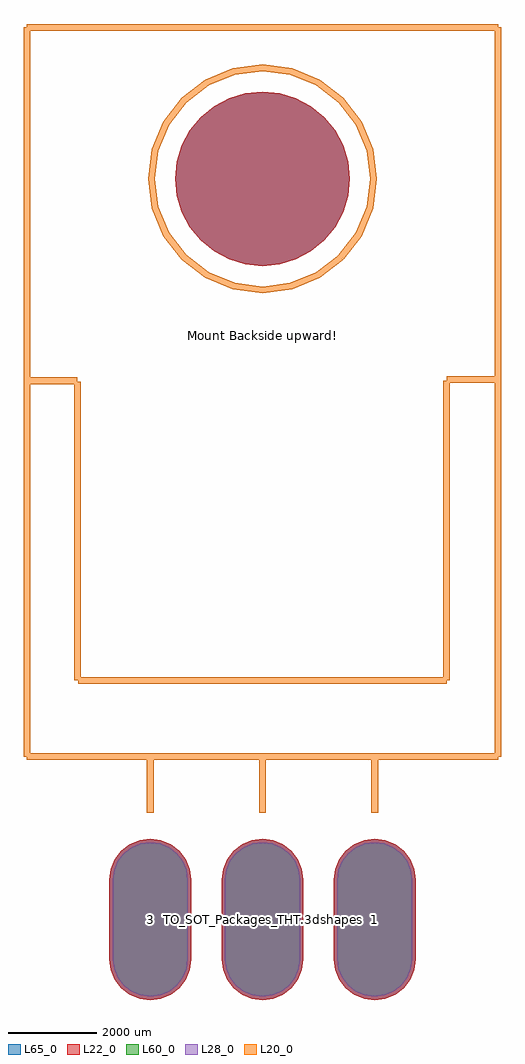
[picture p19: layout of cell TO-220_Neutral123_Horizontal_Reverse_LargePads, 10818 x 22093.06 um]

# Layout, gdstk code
import gdstk
lib = gdstk.Library(unit=1e-6, precision=1e-09)
def P(c, l, *ps):  # polygons
    for p in ps: c.add(gdstk.Polygon(p, *l))
L20_0 = (20, 0)
L22_0 = (22, 0)
L28_0 = (28, 0)
L60_0 = (60, 0)
L65_0 = (65, 0)

to_220_neutral123_horizo = lib.new_cell('TO-220_Neutral123_Horizontal_Reverse_LargePads')
P(to_220_neutral123_horizo, L22_0, [(1974.92,16764),(1936.972,17149.288),(1824.588,17519.769),(1642.086,17861.207),(1396.479,18160.479),(1097.207,18406.086),(755.769,18588.588),(385.288,18700.972),(0,18738.92),(-385.288,18700.972),(-755.769,18588.588),(-1097.207,18406.086),(-1396.479,18160.479),(-1642.086,17861.207),(-1824.588,17519.769),(-1936.972,17149.288),(-1974.92,16764),(-1936.972,16378.712),(-1824.588,16008.231),(-1642.086,15666.793),(-1396.479,15367.521),(-1097.207,15121.914),(-755.769,14939.412),(-385.288,14827.028),(0,14789.08),(385.288,14827.028),(755.769,14939.412),(1097.207,15121.914),(1396.479,15367.521),(1642.086,15666.793),(1824.588,16008.231),(1936.972,16378.712)],
  [(2540,-1825.06),(2779.312,-1793.554),(3002.315,-1701.183),(3193.812,-1554.242),(3340.753,-1362.745),(3433.124,-1139.742),(3464.63,-900.43),(3464.63,900.43),(3433.124,1139.742),(3340.753,1362.745),(3193.812,1554.242),(3002.315,1701.183),(2779.312,1793.554),(2540,1825.06),(2300.688,1793.554),(2077.685,1701.183),(1886.188,1554.242),(1739.247,1362.745),(1646.876,1139.742),(1615.37,900.43),(1615.37,-900.43),(1646.876,-1139.742),(1739.247,-1362.745),(1886.188,-1554.242),(2077.685,-1701.183),(2300.688,-1793.554)],
  [(-2540,-1825.06),(-2300.688,-1793.554),(-2077.685,-1701.183),(-1886.188,-1554.242),(-1739.247,-1362.745),(-1646.876,-1139.742),(-1615.37,-900.43),(-1615.37,900.43),(-1646.876,1139.742),(-1739.247,1362.745),(-1886.188,1554.242),(-2077.685,1701.183),(-2300.688,1793.554),(-2540,1825.06),(-2779.312,1793.554),(-3002.315,1701.183),(-3193.812,1554.242),(-3340.753,1362.745),(-3433.124,1139.742),(-3464.63,900.43),(-3464.63,-900.43),(-3433.124,-1139.742),(-3340.753,-1362.745),(-3193.812,-1554.242),(-3002.315,-1701.183),(-2779.312,-1793.554)],
  [(0,-1825.06),(239.312,-1793.554),(462.315,-1701.183),(653.812,-1554.242),(800.753,-1362.745),(893.124,-1139.742),(924.63,-900.43),(924.63,900.43),(893.124,1139.742),(800.753,1362.745),(653.812,1554.242),(462.315,1701.183),(239.312,1793.554),(0,1825.06),(-239.312,1793.554),(-462.315,1701.183),(-653.812,1554.242),(-800.753,1362.745),(-893.124,1139.742),(-924.63,900.43),(-924.63,-900.43),(-893.124,-1139.742),(-800.753,-1362.745),(-653.812,-1554.242),(-462.315,-1701.183),(-239.312,-1793.554)])
P(to_220_neutral123_horizo, L28_0, [(2540,-1750.06),(2759.9,-1721.11),(2964.815,-1636.231),(3140.779,-1501.209),(3275.801,-1325.245),(3360.68,-1120.33),(3389.63,-900.43),(3389.63,900.43),(3360.68,1120.33),(3275.801,1325.245),(3140.779,1501.209),(2964.815,1636.231),(2759.9,1721.11),(2540,1750.06),(2320.1,1721.11),(2115.185,1636.231),(1939.221,1501.209),(1804.199,1325.245),(1719.32,1120.33),(1690.37,900.43),(1690.37,-900.43),(1719.32,-1120.33),(1804.199,-1325.245),(1939.221,-1501.209),(2115.185,-1636.231),(2320.1,-1721.11)],
  [(-2540,-1750.06),(-2320.1,-1721.11),(-2115.185,-1636.231),(-1939.221,-1501.209),(-1804.199,-1325.245),(-1719.32,-1120.33),(-1690.37,-900.43),(-1690.37,900.43),(-1719.32,1120.33),(-1804.199,1325.245),(-1939.221,1501.209),(-2115.185,1636.231),(-2320.1,1721.11),(-2540,1750.06),(-2759.9,1721.11),(-2964.815,1636.231),(-3140.779,1501.209),(-3275.801,1325.245),(-3360.68,1120.33),(-3389.63,900.43),(-3389.63,-900.43),(-3360.68,-1120.33),(-3275.801,-1325.245),(-3140.779,-1501.209),(-2964.815,-1636.231),(-2759.9,-1721.11)],
  [(0,-1750.06),(219.9,-1721.11),(424.815,-1636.231),(600.779,-1501.209),(735.801,-1325.245),(820.68,-1120.33),(849.63,-900.43),(849.63,900.43),(820.68,1120.33),(735.801,1325.245),(600.779,1501.209),(424.815,1636.231),(219.9,1721.11),(0,1750.06),(-219.9,1721.11),(-424.815,1636.231),(-600.779,1501.209),(-735.801,1325.245),(-820.68,1120.33),(-849.63,900.43),(-849.63,-900.43),(-820.68,-1120.33),(-735.801,-1325.245),(-600.779,-1501.209),(-424.815,-1636.231),(-219.9,-1721.11)])
P(to_220_neutral123_horizo, L60_0, [(2540,-1750.06),(2759.9,-1721.11),(2964.815,-1636.231),(3140.779,-1501.209),(3275.801,-1325.245),(3360.68,-1120.33),(3389.63,-900.43),(3389.63,900.43),(3360.68,1120.33),(3275.801,1325.245),(3140.779,1501.209),(2964.815,1636.231),(2759.9,1721.11),(2540,1750.06),(2320.1,1721.11),(2115.185,1636.231),(1939.221,1501.209),(1804.199,1325.245),(1719.32,1120.33),(1690.37,900.43),(1690.37,-900.43),(1719.32,-1120.33),(1804.199,-1325.245),(1939.221,-1501.209),(2115.185,-1636.231),(2320.1,-1721.11)],
  [(-2540,-1750.06),(-2320.1,-1721.11),(-2115.185,-1636.231),(-1939.221,-1501.209),(-1804.199,-1325.245),(-1719.32,-1120.33),(-1690.37,-900.43),(-1690.37,900.43),(-1719.32,1120.33),(-1804.199,1325.245),(-1939.221,1501.209),(-2115.185,1636.231),(-2320.1,1721.11),(-2540,1750.06),(-2759.9,1721.11),(-2964.815,1636.231),(-3140.779,1501.209),(-3275.801,1325.245),(-3360.68,1120.33),(-3389.63,900.43),(-3389.63,-900.43),(-3360.68,-1120.33),(-3275.801,-1325.245),(-3140.779,-1501.209),(-2964.815,-1636.231),(-2759.9,-1721.11)],
  [(0,-1750.06),(219.9,-1721.11),(424.815,-1636.231),(600.779,-1501.209),(735.801,-1325.245),(820.68,-1120.33),(849.63,-900.43),(849.63,900.43),(820.68,1120.33),(735.801,1325.245),(600.779,1501.209),(424.815,1636.231),(219.9,1721.11),(0,1750.06),(-219.9,1721.11),(-424.815,1636.231),(-600.779,1501.209),(-735.801,1325.245),(-820.68,1120.33),(-849.63,900.43),(-849.63,-900.43),(-820.68,-1120.33),(-735.801,-1325.245),(-600.779,-1501.209),(-424.815,-1636.231),(-219.9,-1721.11)])
P(to_220_neutral123_horizo, L65_0, [(1974.92,16764),(1936.972,17149.288),(1824.588,17519.769),(1642.086,17861.207),(1396.479,18160.479),(1097.207,18406.086),(755.769,18588.588),(385.288,18700.972),(0,18738.92),(-385.288,18700.972),(-755.769,18588.588),(-1097.207,18406.086),(-1396.479,18160.479),(-1642.086,17861.207),(-1824.588,17519.769),(-1936.972,17149.288),(-1974.92,16764),(-1936.972,16378.712),(-1824.588,16008.231),(-1642.086,15666.793),(-1396.479,15367.521),(-1097.207,15121.914),(-755.769,14939.412),(-385.288,14827.028),(0,14789.08),(385.288,14827.028),(755.769,14939.412),(1097.207,15121.914),(1396.479,15367.521),(1642.086,15666.793),(1824.588,16008.231),(1936.972,16378.712)],
  [(2540,-1825.06),(2779.312,-1793.554),(3002.315,-1701.183),(3193.812,-1554.242),(3340.753,-1362.745),(3433.124,-1139.742),(3464.63,-900.43),(3464.63,900.43),(3433.124,1139.742),(3340.753,1362.745),(3193.812,1554.242),(3002.315,1701.183),(2779.312,1793.554),(2540,1825.06),(2300.688,1793.554),(2077.685,1701.183),(1886.188,1554.242),(1739.247,1362.745),(1646.876,1139.742),(1615.37,900.43),(1615.37,-900.43),(1646.876,-1139.742),(1739.247,-1362.745),(1886.188,-1554.242),(2077.685,-1701.183),(2300.688,-1793.554)],
  [(-2540,-1825.06),(-2300.688,-1793.554),(-2077.685,-1701.183),(-1886.188,-1554.242),(-1739.247,-1362.745),(-1646.876,-1139.742),(-1615.37,-900.43),(-1615.37,900.43),(-1646.876,1139.742),(-1739.247,1362.745),(-1886.188,1554.242),(-2077.685,1701.183),(-2300.688,1793.554),(-2540,1825.06),(-2779.312,1793.554),(-3002.315,1701.183),(-3193.812,1554.242),(-3340.753,1362.745),(-3433.124,1139.742),(-3464.63,900.43),(-3464.63,-900.43),(-3433.124,-1139.742),(-3340.753,-1362.745),(-3193.812,-1554.242),(-3002.315,-1701.183),(-2779.312,-1793.554)],
  [(0,-1825.06),(239.312,-1793.554),(462.315,-1701.183),(653.812,-1554.242),(800.753,-1362.745),(893.124,-1139.742),(924.63,-900.43),(924.63,900.43),(893.124,1139.742),(800.753,1362.745),(653.812,1554.242),(462.315,1701.183),(239.312,1793.554),(0,1825.06),(-239.312,1793.554),(-462.315,1701.183),(-653.812,1554.242),(-800.753,1362.745),(-893.124,1139.742),(-924.63,900.43),(-924.63,-900.43),(-893.124,-1139.742),(-800.753,-1362.745),(-653.812,-1554.242),(-462.315,-1701.183),(-239.312,-1793.554)])
to_220_neutral123_horizo.add(gdstk.FlexPath([(0,3683),(5334,3683)], 149.998, ends="flush", simple_path=True, layer=20, datatype=0))  # L20_0
to_220_neutral123_horizo.add(gdstk.FlexPath([(0,3683),(-5334,3683)], 149.998, ends="flush", simple_path=True, layer=20, datatype=0))  # L20_0
to_220_neutral123_horizo.add(gdstk.FlexPath([(-5334,12192),(-5334,3683)], 149.998, ends="flush", simple_path=True, layer=20, datatype=0))  # L20_0
to_220_neutral123_horizo.add(gdstk.FlexPath([(5334,3683),(5334,12192)], 149.998, ends="flush", simple_path=True, layer=20, datatype=0))  # L20_0
to_220_neutral123_horizo.add(gdstk.FlexPath([(-5334,20193),(-5334,12192)], 149.998, ends="flush", simple_path=True, layer=20, datatype=0))  # L20_0
to_220_neutral123_horizo.add(gdstk.FlexPath([(5334,20193),(-5334,20193)], 149.998, ends="flush", simple_path=True, layer=20, datatype=0))  # L20_0
to_220_neutral123_horizo.add(gdstk.FlexPath([(5334,12192),(5334,20193)], 149.998, ends="flush", simple_path=True, layer=20, datatype=0))  # L20_0
to_220_neutral123_horizo.add(gdstk.FlexPath([(1778,14986),(2177.596,15506.764),(2428.793,16113.207),(2514.472,16764),(2428.793,17414.793),(2177.596,18021.236),(1778,18542),(1257.236,18941.596),(650.793,19192.793),(0,19278.472),(-650.793,19192.793),(-1257.236,18941.596),(-1778,18542),(-2177.596,18021.236),(-2428.793,17414.793),(-2514.472,16764),(-2428.793,16113.207),(-2177.596,15506.764),(-1778,14986),(-1257.236,14586.404),(-650.793,14335.207),(0,14249.528),(650.793,14335.207),(1257.236,14586.404),(1778,14986)], 149.998, ends="flush", simple_path=True, layer=20, datatype=0))  # L20_0
to_220_neutral123_horizo.add(gdstk.FlexPath([(4165.6,5410.2),(-4165.6,5410.2)], 149.998, ends="flush", simple_path=True, layer=20, datatype=0))  # L20_0
to_220_neutral123_horizo.add(gdstk.FlexPath([(4165.6,12192),(4165.6,5410.2)], 149.998, ends="flush", simple_path=True, layer=20, datatype=0))  # L20_0
to_220_neutral123_horizo.add(gdstk.FlexPath([(-4191,5410.2),(-4191,12166.6)], 149.998, ends="flush", simple_path=True, layer=20, datatype=0))  # L20_0
to_220_neutral123_horizo.add(gdstk.FlexPath([(-4191,12192),(-5334,12192)], 149.998, ends="flush", simple_path=True, layer=20, datatype=0))  # L20_0
to_220_neutral123_horizo.add(gdstk.FlexPath([(4165.6,12217.4),(5359.4,12217.4)], 149.998, ends="flush", simple_path=True, layer=20, datatype=0))  # L20_0
to_220_neutral123_horizo.add(gdstk.FlexPath([(2540,3683),(2540,2413)], 149.998, ends="flush", simple_path=True, layer=20, datatype=0))  # L20_0
to_220_neutral123_horizo.add(gdstk.FlexPath([(0,3683),(0,2413)], 149.998, ends="flush", simple_path=True, layer=20, datatype=0))  # L20_0
to_220_neutral123_horizo.add(gdstk.FlexPath([(-2540,3683),(-2540,2413)], 149.998, ends="flush", simple_path=True, layer=20, datatype=0))  # L20_0
to_220_neutral123_horizo.add(gdstk.Label('TO_SOT_Packages_THT.3dshapes/TO-220_Neutral123_Horizontal_Reverse_LargePads.wrl', (0,0), layer=12, texttype=0))
to_220_neutral123_horizo.add(gdstk.Label('1', (2540,0), layer=28, texttype=0))
to_220_neutral123_horizo.add(gdstk.Label('3', (-2540,0), layer=28, texttype=0))
to_220_neutral123_horizo.add(gdstk.Label('2', (0,0), layer=28, texttype=0))
to_220_neutral123_horizo.add(gdstk.Label('Mount Backside upward!', (0,13208), layer=9, texttype=0))
to_220_neutral123_horizo.add(gdstk.Label('type', (1270,-3810), layer=9, texttype=0))
to_220_neutral123_horizo.add(gdstk.Label('devicename', (449.58,22750.78), layer=9, texttype=0))

lib.write_gds('TO-220_Neutral123_Horizontal_Reverse_LargePads.gds')
